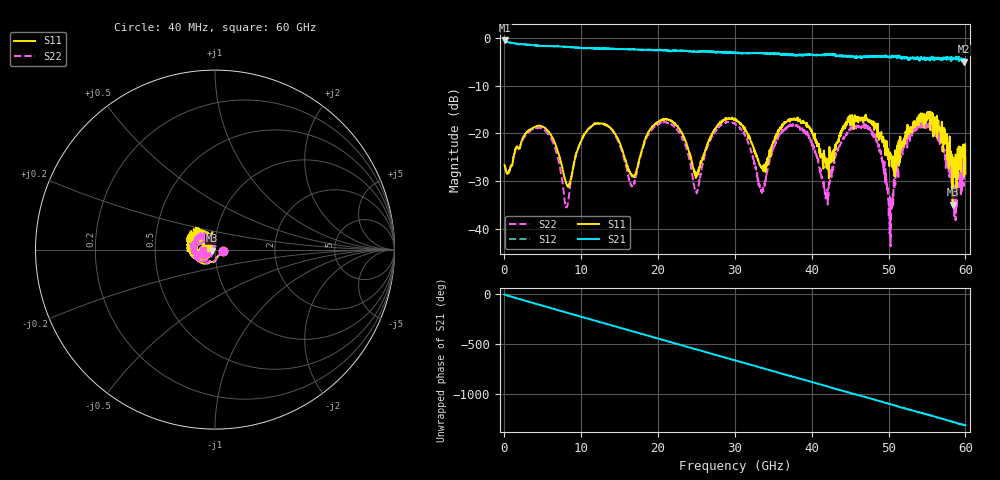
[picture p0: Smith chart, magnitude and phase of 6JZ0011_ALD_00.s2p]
! File created by 'SoftPlot +Plus+ Measurement Management Software'
! SoftPlot +Plus+ Measurement Management Software
! Start 40.000000 MHz  Stop 60.000000 GHz  Points 1601
# MHZ S RI R 50
! S-Parameter data, F S11 S21 S12 S22
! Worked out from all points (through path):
!   1601 points, 40 MHz to 60 GHz, reference 50 ohm
!   highest |S21| = -0.46 dB at 40 MHz (marker M1); lowest = -4.9 dB at 59.85 GHz (marker M2)
!   group delay of S21, straight-line fit = 60.4 ps
!   lowest |S11| = -35.0 dB at 58.35 GHz (marker M3), VSWR 1.04, Z = 48.3 - j0.551 ohm
!   |S11| at or under -10 dB: start of sweep to end of sweep
!   |S22| runs from -43.7 to -16.9 dB; largest |S21 - S12| = 0.075
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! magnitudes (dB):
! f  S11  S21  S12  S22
! 40 MHz  -26.7  -0.5  -0.5  -26.8
! 4.949 GHz  -18.5  -1.6  -1.6  -19.0
! 8.097 GHz  -30.7  -1.8  -1.8  -35.5
! 10.05 GHz  -21.5  -2.1  -2.0  -21.4
! 13.72 GHz  -18.7  -2.2  -2.2  -18.7
! 16.64 GHz  -29.0  -2.3  -2.3  -31.0
! 20.05 GHz  -17.6  -2.5  -2.5  -18.0
! 22.86 GHz  -19.3  -2.6  -2.6  -20.1
! 25 GHz  -29.1  -2.8  -2.8  -32.2
! 27.13 GHz  -19.7  -2.7  -2.9  -20.2
! 30.02 GHz  -17.0  -3.0  -3.0  -17.9
! 33.54 GHz  -27.3  -3.2  -3.1  -32.5
! 36.35 GHz  -18.1  -3.4  -3.4  -19.4
! 40.03 GHz  -19.3  -3.4  -3.5  -21.8
! 41.9 GHz  -25.8  -3.3  -3.5  -32.2
! 44.3 GHz  -18.0  -3.8  -3.7  -20.6
! 47.33 GHz  -17.2  -4.0  -3.9  -19.1
! 50.03 GHz  -23.9  -4.0  -3.8  -37.6
! 54.12 GHz  -16.0  -4.3  -4.2  -18.3
! 58.35 GHz  -35.0  -4.5  -4.1  -34.7
! 59.85 GHz  -24.0  -4.9  -4.7  -23.8
! 60 GHz  -28.5  -4.6  -4.6  -23.6
